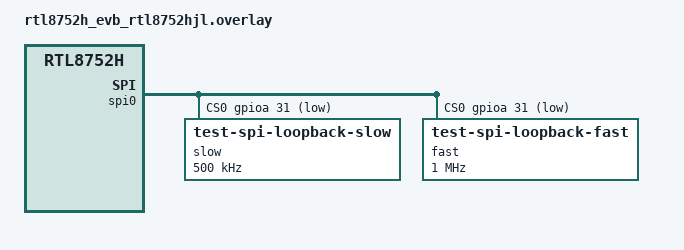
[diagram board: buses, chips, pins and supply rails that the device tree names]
/*
 * Copyright (c) 2026, Realtek Semiconductor Corporation
 *
 * SPDX-License-Identifier: Apache-2.0
 */

&gpioa {
	pinctrl-0 = <&gpioa_default>;
	pinctrl-names = "default";
	status = "okay";
};

&dma0 {
	status = "okay";
};

&spi0 {
	status = "okay";
	pinctrl-0 = <&spi0_default>;
	pinctrl-names = "default";
	cs-gpios = <&gpioa 31 GPIO_ACTIVE_LOW>;
	dmas = <&dma0 0 BEE_DMA_HANDSHAKE_SPI0_TX
		(BEE_DMA_M2P | BEE_DMA_SRC_INC | BEE_DMA_DST_FIXED | BEE_DMA_SRC_WIDTH_8BIT |
		 BEE_DMA_DST_WIDTH_8BIT | BEE_DMA_SRC_MSIZE(BEE_DMA_MSIZE_1) |
		 BEE_DMA_DST_MSIZE(BEE_DMA_MSIZE_1) | BEE_DMA_PRIORITY(1))>,
	       <&dma0 1 BEE_DMA_HANDSHAKE_SPI0_RX
		(BEE_DMA_P2M | BEE_DMA_SRC_FIXED | BEE_DMA_DST_INC | BEE_DMA_SRC_WIDTH_8BIT |
		 BEE_DMA_DST_WIDTH_8BIT | BEE_DMA_SRC_MSIZE(BEE_DMA_MSIZE_1) |
		 BEE_DMA_DST_MSIZE(BEE_DMA_MSIZE_1) | BEE_DMA_PRIORITY(0))>;
	dma-names = "tx", "rx";

	slow@0 {
		compatible = "test-spi-loopback-slow";
		reg = <0>;
		spi-max-frequency = <500000>;
	};

	fast@0 {
		compatible = "test-spi-loopback-fast";
		reg = <0>;
		spi-max-frequency = <1000000>;
	};
};

&pinctrl {
	spi0_default: spi0_default {
		group1 {
			psels = <BEE_PSEL(SPI0_CLK_MASTER, P4_0)>,
				<BEE_PSEL(SPI0_MO_MASTER, P4_1)>,
				<BEE_PSEL(SPI0_MI_MASTER, P4_2)>;
			output-enable;
			output-high;
			bias-pull-up;
		};
	};

	gpioa_default: gpioa_default {
		group1 {
			psels = <BEE_PSEL_GPIOA_31_P4_3>;
		};
	};
};
